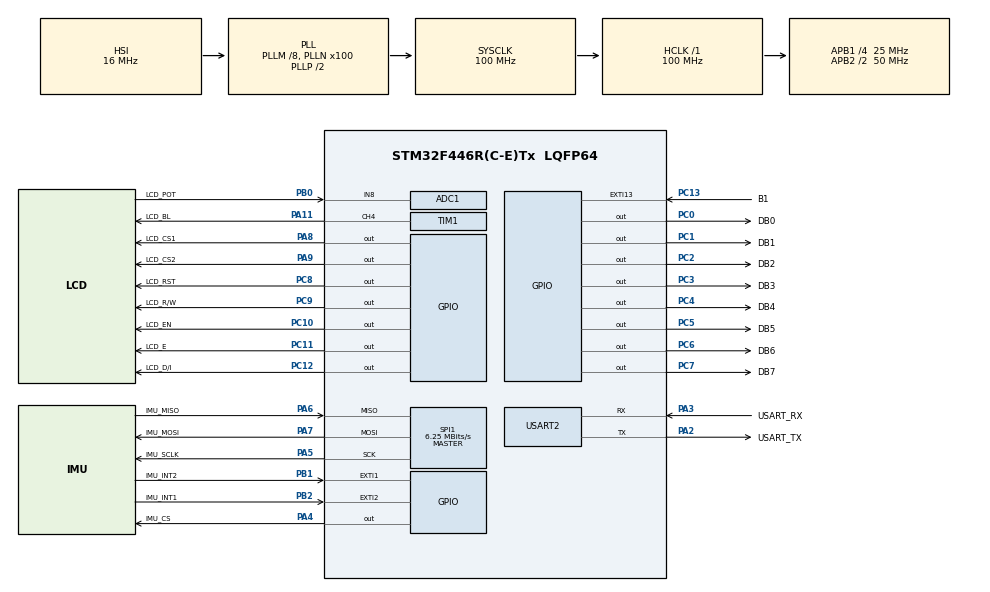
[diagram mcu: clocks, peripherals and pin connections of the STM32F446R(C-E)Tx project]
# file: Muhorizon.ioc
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ADC1.Channel-6\#ChannelRegularConversion=ADC_CHANNEL_8
ADC1.NbrOfConversionFlag=1
ADC1.Rank-6\#ChannelRegularConversion=1
ADC1.SamplingTime-6\#ChannelRegularConversion=ADC_SAMPLETIME_3CYCLES
ADC1.master=1
Mcu.Family=STM32F4
Mcu.Name=STM32F446R(C-E)Tx
Mcu.Package=LQFP64
NVIC.ADC_IRQn=true\:0\:0\:false\:false\:true\:true\:true\:true
NVIC.EXTI15_10_IRQn=true\:0\:0\:false\:false\:true\:true\:true\:true
NVIC.EXTI1_IRQn=true\:0\:0\:false\:false\:true\:true\:true\:true
NVIC.EXTI2_IRQn=true\:0\:0\:false\:false\:true\:true\:true\:true
NVIC.PriorityGroup=NVIC_PRIORITYGROUP_0
NVIC.TIM7_IRQn=true\:0\:0\:false\:false\:true\:true\:true\:true
NVIC.USART2_IRQn=true\:0\:0\:false\:false\:true\:true\:true\:true
PA11.GPIO_Label=LCD_BL
PA11.Signal=S_TIM1_CH4
PA13.GPIO_Label=TMS
PA13.Mode=Serial_Wire
PA13.Signal=SYS_JTMS-SWDIO
PA14.GPIO_Label=TCK
PA14.Mode=Serial_Wire
PA14.Signal=SYS_JTCK-SWCLK
PA2.GPIO_Label=USART_TX
PA2.Mode=Asynchronous
PA2.Signal=USART2_TX
PA3.GPIO_Label=USART_RX
PA3.Mode=Asynchronous
PA3.Signal=USART2_RX
PA4.GPIO_Label=IMU_CS
PA4.Signal=GPIO_Output
PA5.GPIO_Label=IMU_SCLK
PA5.Mode=Full_Duplex_Master
PA5.Signal=SPI1_SCK
PA6.GPIO_Label=IMU_MISO
PA6.Mode=Full_Duplex_Master
PA6.Signal=SPI1_MISO
PA7.GPIO_Label=IMU_MOSI
PA7.Mode=Full_Duplex_Master
PA7.Signal=SPI1_MOSI
PA8.GPIO_Label=LCD_CS1
PA8.GPIO_Speed=GPIO_SPEED_FREQ_VERY_HIGH
PA8.Signal=GPIO_Output
PA9.GPIO_Label=LCD_CS2
PA9.GPIO_Speed=GPIO_SPEED_FREQ_VERY_HIGH
PA9.Signal=GPIO_Output
PB0.GPIO_Label=LCD_POT
PB0.Signal=ADCx_IN8
PB1.GPIO_Label=IMU_INT2
PB1.GPIO_ModeDefaultEXTI=GPIO_MODE_IT_FALLING
PB1.Signal=GPXTI1
PB2.GPIO_Label=IMU_INT1
PB2.GPIO_ModeDefaultEXTI=GPIO_MODE_IT_FALLING
PB2.Signal=GPXTI2
PB3.GPIO_Label=SWO
PB3.Signal=SYS_JTDO-SWO
PC0.GPIO_Label=DB0
PC0.GPIO_Speed=GPIO_SPEED_FREQ_VERY_HIGH
PC0.Signal=GPIO_Output
PC1.GPIO_Label=DB1
PC1.GPIO_Speed=GPIO_SPEED_FREQ_VERY_HIGH
PC1.Signal=GPIO_Output
PC10.GPIO_Label=LCD_EN
PC10.GPIO_Speed=GPIO_SPEED_FREQ_VERY_HIGH
PC10.Signal=GPIO_Output
PC11.GPIO_Label=LCD_E
PC11.GPIO_Speed=GPIO_SPEED_FREQ_VERY_HIGH
PC11.Signal=GPIO_Output
PC12.GPIO_Label=LCD_D/I
PC12.GPIO_Speed=GPIO_SPEED_FREQ_VERY_HIGH
PC12.Signal=GPIO_Output
PC13.GPIO_Label=B1
PC13.GPIO_ModeDefaultEXTI=GPIO_MODE_IT_FALLING
PC13.Signal=GPXTI13
PC14-OSC32_IN.Mode=LSE-External-Oscillator
PC14-OSC32_IN.Signal=RCC_OSC32_IN
PC15-OSC32_OUT.Mode=LSE-External-Oscillator
PC15-OSC32_OUT.Signal=RCC_OSC32_OUT
PC2.GPIO_Label=DB2
PC2.GPIO_Speed=GPIO_SPEED_FREQ_VERY_HIGH
PC2.Signal=GPIO_Output
PC3.GPIO_Label=DB3
PC3.GPIO_Speed=GPIO_SPEED_FREQ_VERY_HIGH
PC3.Signal=GPIO_Output
PC4.GPIO_Label=DB4
PC4.GPIO_Speed=GPIO_SPEED_FREQ_VERY_HIGH
PC4.Signal=GPIO_Output
PC5.GPIO_Label=DB5
PC5.GPIO_Speed=GPIO_SPEED_FREQ_VERY_HIGH
PC5.Signal=GPIO_Output
PC6.GPIO_Label=DB6
PC6.GPIO_Speed=GPIO_SPEED_FREQ_VERY_HIGH
PC6.Signal=GPIO_Output
PC7.GPIO_Label=DB7
PC7.GPIO_Speed=GPIO_SPEED_FREQ_VERY_HIGH
PC7.Signal=GPIO_Output
PC8.GPIO_Label=LCD_RST
PC8.GPIO_Speed=GPIO_SPEED_FREQ_VERY_HIGH
PC8.Signal=GPIO_Output
PC9.GPIO_Label=LCD_R/W
PC9.GPIO_Speed=GPIO_SPEED_FREQ_VERY_HIGH
PC9.Signal=GPIO_Output
PH0-OSC_IN.Mode=HSE-External-Oscillator
PH0-OSC_IN.Signal=RCC_OSC_IN
PH1-OSC_OUT.Mode=HSE-External-Oscillator
PH1-OSC_OUT.Signal=RCC_OSC_OUT
ProjectManager.HeapSize=0x200
ProjectManager.StackSize=0x400
ProjectManager.TargetToolchain=Makefile
RCC.48MHZClocksFreq_Value=84000000
RCC.AHBFreq_Value=100000000
RCC.APB1CLKDivider=RCC_HCLK_DIV4
RCC.APB1Freq_Value=25000000
RCC.APB1TimFreq_Value=50000000
RCC.APB2CLKDivider=RCC_HCLK_DIV2
RCC.APB2Freq_Value=50000000
RCC.APB2TimFreq_Value=100000000
RCC.CortexFreq_Value=100000000
RCC.FLatency-AdvancedSettings=FLASH_LATENCY_3
RCC.HCLKFreq_Value=100000000
RCC.HSE_VALUE=8000000
RCC.HSI_VALUE=16000000
RCC.PLLM=8
RCC.PLLN=100
RCC.SYSCLKFreq_VALUE=100000000
RCC.SYSCLKSource=RCC_SYSCLKSOURCE_PLLCLK
RCC.USBFreq_Value=100000000
RCC.VCOOutputFreq_Value=200000000
SH.ADCx_IN8.0=ADC1_IN8,IN8
SH.S_TIM1_CH4.0=TIM1_CH4,PWM Generation4 CH4
SPI1.BaudRatePrescaler=SPI_BAUDRATEPRESCALER_8
SPI1.CalculateBaudRate=6.25 MBits/s
SPI1.Direction=SPI_DIRECTION_2LINES
SPI1.Mode=SPI_MODE_MASTER
SPI1.VirtualType=VM_MASTER
TIM1.Channel-PWM\ Generation4\ CH4=TIM_CHANNEL_4
TIM1.ClockDivision=TIM_CLOCKDIVISION_DIV1
TIM1.Period=41999
TIM1.Prescaler=0
TIM7.Period=9999
TIM7.Prescaler=9
USART2.VirtualMode=VM_ASYNC
VP_CRC_VS_CRC.Mode=CRC_Activate
VP_TIM1_VS_ClockSourceINT.Mode=Internal
VP_TIM7_VS_ClockSourceINT.Mode=Enable_Timer
board=NUCLEO-F446RE

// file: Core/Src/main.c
/* USER CODE BEGIN Header */
/**
 ******************************************************************************
 * @file           : main.c
 * @brief          : Main program body
 ******************************************************************************
 * @attention
 *
 * Copyright (c) 2022 STMicroelectronics.
 * All rights reserved.
 *
 * This software is licensed under terms that can be found in the LICENSE file
 * in the root directory of this software component.
 * If no LICENSE file comes with this software, it is provided AS-IS.
 *
 ******************************************************************************
 */
/* USER CODE END Header */
#include "main.h"
#include "adc.h"
#include "crc.h"
#include "spi.h"
#include "tim.h"
#include "usart.h"
#include "gpio.h"

/* USER CODE BEGIN Includes */
#include "LCD_Driver.h"
#include "Complementary_Filter.h"
#include "IMU_Handler.h"
#include "CommHandler.h"
#include "Application.h"
#include <stdio.h>
#include <math.h>
/* USER CODE END Includes */

/* USER CODE BEGIN PV */

uint8_t RX_Buffer;

/* USER CODE END PV */

void SystemClock_Config(void);

/* USER CODE BEGIN 0 */

// Fényerőállításhoz 1kHZ frekvenciával indított mintavételezés

void HAL_TIM_PeriodElapsedCallback(TIM_HandleTypeDef *htim)
{
	if (htim->Instance == TIM7)
		// Potméter ADC konverzió indítása
		HAL_ADC_Start_IT(&hadc1);
}
void HAL_UART_RxCpltCallback(UART_HandleTypeDef *huart)
{

	// Ha fogadott karakter s, akkor a jelenlegi adatokat elküldi, és 4byte CRC-t tűz a végére

	CommHandler_HandleCommEvent(RX_Buffer);
	RX_Buffer = 0u;
	HAL_UART_Receive_IT(huart, &RX_Buffer, 1);
}
void HAL_ADC_ConvCpltCallback(ADC_HandleTypeDef *hadc)
{

	// Ha konverzió kész, akkor fényerőt vezérlő PWM állítása
	if (hadc->Instance == ADC1)
	{
		uint32_t ADC_Buffer = HAL_ADC_GetValue(hadc);
		TIM1->CCR4 = ADC_Buffer * 16;
	}
}
void HAL_GPIO_EXTI_Callback(uint16_t GPIO_Pin)
{

	// LSM6DSL INT kezelése
	if (GPIO_Pin == IMU_INT1_Pin)
	{
		IMU_Handler_HandleInterrupt();

		IMU_Handler_Data data = IMU_Handler_GetData();

		Complementary_Filter_UpdateFilter(data.convertedData.facc, data.convertedData.fgyro);

	}
	if (GPIO_Pin == B1_Pin)
	{
		Application_ToggleUI();
	}
}
/* USER CODE END 0 */

int main(void)
{

	/* MCU Configuration--------------------------------------------------------*/

	/* Reset of all peripherals, Initializes the Flash interface and the Systick. */
	HAL_Init();

	/* Configure the system clock */
	SystemClock_Config();

	/* Initialize all configured peripherals */
	MX_GPIO_Init();
	MX_USART2_UART_Init();
	MX_SPI1_Init();
	MX_TIM1_Init();
	MX_TIM7_Init();
	MX_ADC1_Init();
	MX_CRC_Init();

	/* Infinite loop */
	/* USER CODE BEGIN WHILE */

	// LCD inicializálása
	LCD_Init();

	IMU_Handler_Init();

	// PWM alapérték
	TIM1->CCR4 = 21000;

	// PWM indítása
	HAL_TIM_PWM_Start(&htim1, TIM_CHANNEL_4);

	// Potméter mérésének indítása
	HAL_TIM_Base_Start_IT(&htim7);

	// Kliens programtól érkező adat fogadásának indítása
	HAL_UART_Receive_IT(&huart2, &RX_Buffer, 1);

	while (1)
	{
		Application_Refresh();
		/* USER CODE END WHILE */

	}
}

void SystemClock_Config(void)
{
	RCC_OscInitTypeDef RCC_OscInitStruct = {0};
	RCC_ClkInitTypeDef RCC_ClkInitStruct = {0};

	/** Configure the main internal regulator output voltage
	 */
	__HAL_RCC_PWR_CLK_ENABLE();
	__HAL_PWR_VOLTAGESCALING_CONFIG(PWR_REGULATOR_VOLTAGE_SCALE3);

	/** Initializes the RCC Oscillators according to the specified parameters
	 * in the RCC_OscInitTypeDef structure.
	 */
	RCC_OscInitStruct.OscillatorType = RCC_OSCILLATORTYPE_HSI;
	RCC_OscInitStruct.HSIState = RCC_HSI_ON;
	RCC_OscInitStruct.HSICalibrationValue = RCC_HSICALIBRATION_DEFAULT;
	RCC_OscInitStruct.PLL.PLLState = RCC_PLL_ON;
	RCC_OscInitStruct.PLL.PLLSource = RCC_PLLSOURCE_HSI;
	RCC_OscInitStruct.PLL.PLLM = 8;
	RCC_OscInitStruct.PLL.PLLN = 100;
	RCC_OscInitStruct.PLL.PLLP = RCC_PLLP_DIV2;
	RCC_OscInitStruct.PLL.PLLQ = 2;
	RCC_OscInitStruct.PLL.PLLR = 2;
	if (HAL_RCC_OscConfig(&RCC_OscInitStruct) != HAL_OK)
	{
		Error_Handler();
	}

	/** Initializes the CPU, AHB and APB buses clocks
	 */
	RCC_ClkInitStruct.ClockType = RCC_CLOCKTYPE_HCLK | RCC_CLOCKTYPE_SYSCLK | RCC_CLOCKTYPE_PCLK1 | RCC_CLOCKTYPE_PCLK2;
	RCC_ClkInitStruct.SYSCLKSource = RCC_SYSCLKSOURCE_PLLCLK;
	RCC_ClkInitStruct.AHBCLKDivider = RCC_SYSCLK_DIV1;
	RCC_ClkInitStruct.APB1CLKDivider = RCC_HCLK_DIV4;
	RCC_ClkInitStruct.APB2CLKDivider = RCC_HCLK_DIV2;

	if (HAL_RCC_ClockConfig(&RCC_ClkInitStruct, FLASH_LATENCY_3) != HAL_OK)
	{
		Error_Handler();
	}
}

void Error_Handler(void)
{
	__disable_irq();
	while (1)
	{
	}
}
